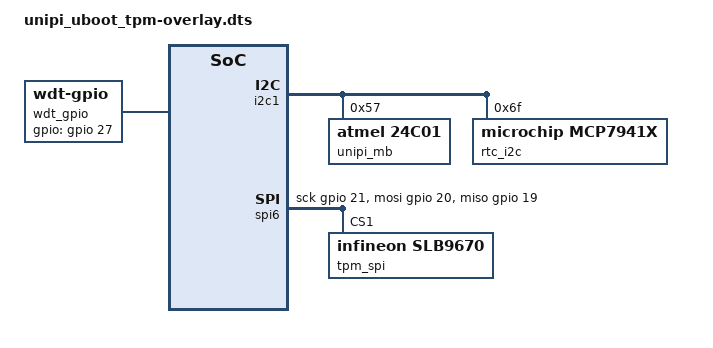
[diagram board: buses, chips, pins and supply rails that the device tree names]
/dts-v1/;
/plugin/;

/ {
	fragment@0 {
		target-path = "/";
		__overlay__ {
			bootcount0 {
				compatible = "u-boot,bootcount-rtc";
				rtc = <&rtc_i2c>;
				offset = <0x20>;
			};
			
			wdt_gpio: wdt-gpio {
				compatible = "linux,wdt-gpio";
				hw_margin_ms = <4000>;
				hw_algo = "level";
				pinctrl-names = "default";
				timeout-sec = <10>;
				pinctrl-0 = <&wd_pins>;
				gpios = <&gpio 27 0>;
				status = "okay";
			};
		};
	};

	fragment@1 {
		target = <&i2c1>;

		__overlay__ {
			#address-cells = < 0x01 >;
			#size-cells = < 0x00 >;
			status = "okay";

			unipi_mb:24c01@57 {
				compatible = "atmel,24c01";
				reg = <0x57>;
				read-only;
				status = "okay";
			};

			rtc_i2c:mcp7940x@6f {
				compatible = "microchip,mcp7941x";
				reg = <0x6f>;
				status = "okay";
			};
		};
	};

	fragment@2 {
		target-path = "/aliases";
		__overlay__ {
			unipi_mb = &unipi_mb;
		};
	};

	fragment@3 {
		target = <&gpio>;
		__overlay__ {
			wd_pins: wd-pins {
				brcm,pins = <27>;
				brcm,function = <1>;
			};
		};
	};

	fragment@4 {
		target = <&spi6_cs_pins>;
		__overlay__ {
			brcm,pins = <18>, <23>, <19>, <20>, <21> ;
			brcm,function = <0>, <1>, <0>, <1>, <1>; // output input
			brcm,pull = <1>, <0>, <0>, <0>, <0>;
		};
	};

	fragment@5 {
		target = <&spi6>;
		__overlay__ {
			#address-cells = <1>;
			#size-cells = <0>;
			compatible = "spi-gpio";
			pinctrl-names = "default";
			pinctrl-0 = <&spi6_cs_pins>;
			gpio-sck = <&gpio 21 0>;
			gpio-mosi = <&gpio 20 0>;
			gpio-miso = <&gpio 19 0>;
			cs-gpios = <&gpio 23 1>;
			spi-delay-us = <0>;
			status = "okay";

			tpm_spi: tpm-spi@1 {
				compatible = "infineon,slb9670", "tis,tpm2-spi", "tcg,tpm_tis-spi";
				reg = <1>;
				#address-cells = <1>;
				#size-cells = <0>;
				status = "okay";
			};
		};
	};
};
